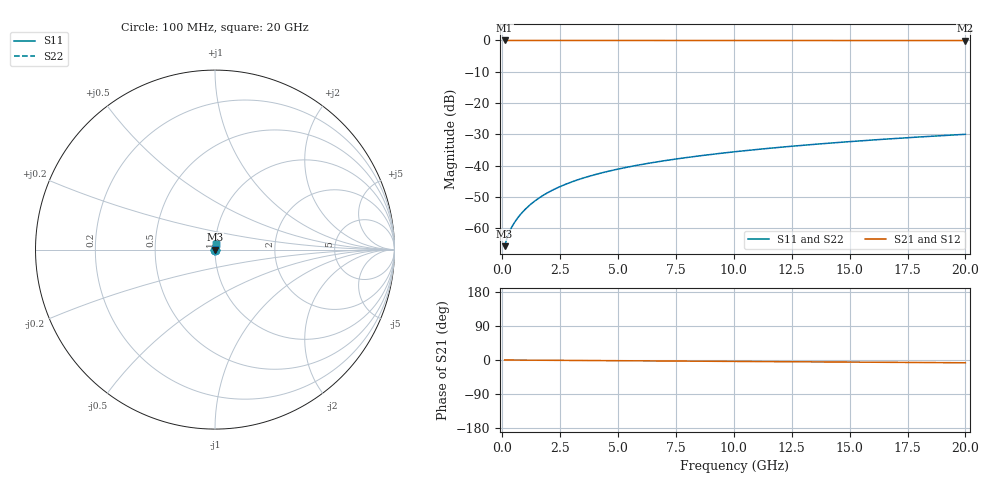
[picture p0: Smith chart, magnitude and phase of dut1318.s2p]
! Touchstone file exported from HFSS 2026.1.0
!  File:  C:/ffzhzh/LocalFiles/Ansys_Project_Files/temp_train_BSMRDL_1318_1783178467_18472.aedt
!  Generated:  11:22:15 PM Jul  4, 2026
!  Design:  BSMRDL
!  Project:  temp_train_BSMRDL_1318_1783178467_18472
! Variables:
!  h_bsmrdl = 5.2um
!  h_ox = 20um
!  h_rdl = 5um
!  h_sub = 80um
!  h_tmrdl = 5um
!  h_tsv = 80um
!  h_via = 3um
!  l_bsmrdl = 106.41um
!  l_sub = 506.41um
!  l_tmrdl = 200um
!  m_sub = 200um
!  pitch = 36.76um
!  r_tsv = 6um
!  s_tmrdl = 10um
!  w_bsmrdl = 26.76um
!  w_sub = 500um
!  w_tmrdl = 12um
!  x_tsv_center1 = 206um
!  x_tsv_center2 = 339.17um
!  x_tsv_center3 = 551.17um
!  x_tsv_center4 = 684.34um
!  x_tsv_center5 = 896.34um
!  x_tsv_center6 = 1029.51um
# GHz S MA R 50.000000
! Terminal data exported
! Port[1] = BSM_RDL1_1_T1
! Port[2] = BSM_RDL1_1_T2
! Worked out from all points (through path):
!   200 points, 100 MHz to 20 GHz, reference 50 ohm
!   highest |S21| = 0.00 dB at 100 MHz (marker M1); lowest = 0.0 dB at 20 GHz (marker M2)
!   group delay of S21, straight-line fit = 1.01 ps
!   lowest |S11| = -65.8 dB at 100 MHz (marker M3), VSWR 1.00, Z = 50 + j0.0251 ohm
!   |S11| at or under -10 dB: start of sweep to end of sweep
!   |S22| runs from -65.8 to -30.0 dB; largest |S21 - S12| = 2.2e-15
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0.1  0.0005129 29.3  0.9996 -0.0  0.9996 -0.0  0.0005129 29.3
! Gamma 0 0 0 0
! Port Impedance 50 0 50 0
0.2  0.0006842 43.5  0.9995 -0.1  0.9995 -0.1  0.0006842 43.5
0.3  0.000857 50.7  0.9995 -0.1  0.9995 -0.1  0.000857 50.7
0.4  0.001022 55.5  0.9994 -0.2  0.9994 -0.2  0.001022 55.5
0.5  0.001183 59.2  0.9994 -0.2  0.9994 -0.2  0.001183 59.2
0.6  0.001344 62.2  0.9994 -0.2  0.9994 -0.2  0.001344 62.2
0.8  0.001673 66.8  0.9993 -0.3  0.9993 -0.3  0.001673 66.8
1  0.002009 70.0  0.9993 -0.4  0.9993 -0.4  0.002009 70.0
1.2  0.002352 72.2  0.9993 -0.5  0.9993 -0.5  0.002352 72.2
1.4  0.002698 73.9  0.9993 -0.5  0.9993 -0.5  0.002698 73.9
1.7  0.00322 75.6  0.9992 -0.6  0.9992 -0.6  0.00322 75.6
2.2  0.004091 77.4  0.9991 -0.8  0.9991 -0.8  0.004091 77.4
2.8  0.005125 78.4  0.999 -1.1  0.999 -1.1  0.005125 78.4
3.5  0.00631 79.0  0.9989 -1.3  0.9989 -1.3  0.00631 79.0
4.2  0.007471 79.2  0.9988 -1.6  0.9988 -1.6  0.007471 79.2
5  0.008771 79.4  0.9986 -1.9  0.9986 -1.9  0.008771 79.4
6.8  0.01162 79.4  0.9983 -2.5  0.9983 -2.5  0.01162 79.4
8.3  0.01394 79.4  0.9981 -3.1  0.9981 -3.1  0.01394 79.4
10.1  0.01669 79.3  0.9978 -3.7  0.9978 -3.7  0.01669 79.3
13.4  0.02169 78.9  0.9974 -4.9  0.9974 -4.9  0.02169 78.9
16.7  0.02664 78.2  0.997 -6.1  0.997 -6.1  0.02664 78.2
20  0.03155 77.4  0.9966 -7.3  0.9966 -7.3  0.03155 77.4
